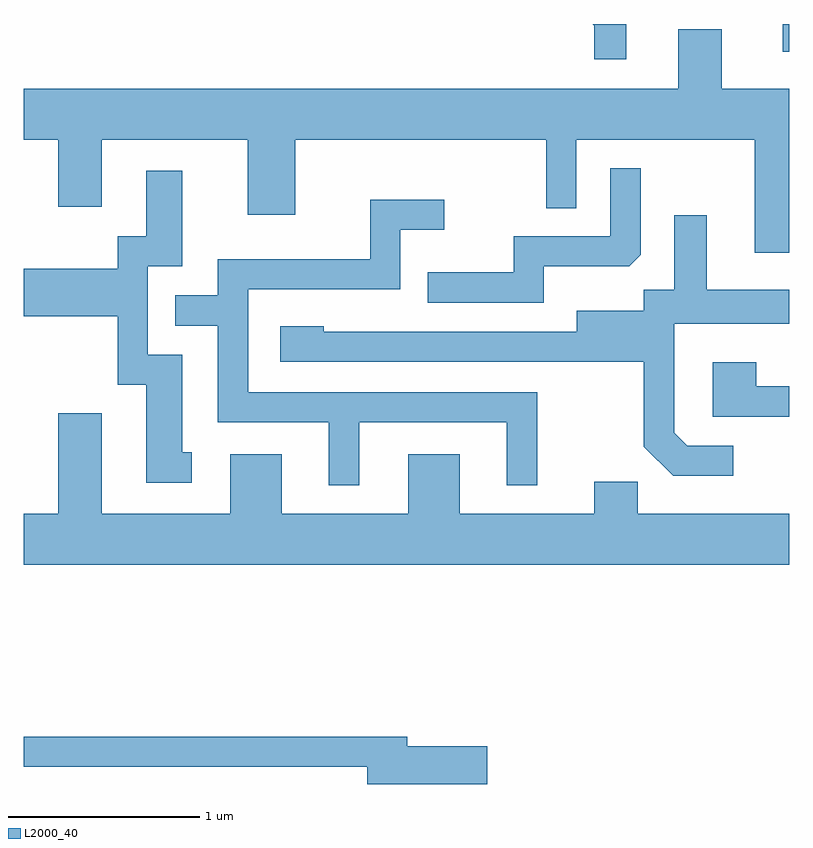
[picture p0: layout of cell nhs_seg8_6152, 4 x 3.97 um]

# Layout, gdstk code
import gdstk
lib = gdstk.Library(unit=1e-6, precision=1e-09)
def R(c, l, rs):  # rectangles x0, y0, x1, y1
    for r in rs: c.add(gdstk.rectangle(r[:2], r[2:], *l))
def P(c, l, *ps):  # polygons
    for p in ps: c.add(gdstk.Polygon(p, *l))
L2000_40 = (2000, 40)

nhs_seg8_6152 = lib.new_cell('nhs_seg8_6152')
R(nhs_seg8_6152, L2000_40, [(373.576,1850.196,373.611,1850.342)])
P(nhs_seg8_6152, L2000_40, [(372.759,1850.342),(372.583,1850.342),(372.591,1850.334),(372.591,1850.158),(372.759,1850.158)],
  [(373.611,1850.004),(373.259,1850.004),(373.259,1850.314),(373.031,1850.314),(373.031,1850.004),(369.611,1850.004),(369.611,1849.736),(369.791,1849.736),(369.791,1849.386),(370.019,1849.386),(370.019,1849.736),(370.781,1849.736),(370.781,1849.346),(371.029,1849.346),(371.029,1849.736),(372.341,1849.736),(372.341,1849.378),(372.499,1849.378),(372.499,1849.736),(373.431,1849.736),(373.431,1849.146),(373.611,1849.146)],
  [(372.329,1849.076),(372.774,1849.076),(372.834,1849.137),(372.834,1849.588),(372.676,1849.588),(372.676,1849.234),(372.171,1849.234),(372.171,1849.044),(371.723,1849.044),(371.723,1848.886),(372.329,1848.886)],
  [(370.488,1848.104),(370.439,1848.104),(370.439,1848.614),(370.259,1848.614),(370.259,1849.076),(370.439,1849.076),(370.439,1849.574),(370.251,1849.574),(370.251,1849.234),(370.101,1849.234),(370.101,1849.064),(369.611,1849.064),(369.611,1848.816),(370.101,1848.816),(370.101,1848.456),(370.251,1848.456),(370.251,1847.946),(370.488,1847.946)],
  [(371.364,1848.261),(372.136,1848.261),(372.136,1847.933),(372.294,1847.933),(372.294,1848.419),(370.784,1848.419),(370.784,1848.956),(371.579,1848.956),(371.579,1849.266),(371.808,1849.266),(371.808,1849.424),(371.421,1849.424),(371.421,1849.114),(370.626,1849.114),(370.626,1848.924),(370.403,1848.924),(370.403,1848.766),(370.626,1848.766),(370.626,1848.261),(371.206,1848.261),(371.206,1847.933),(371.364,1847.933)],
  [(373.318,1848.139),(373.077,1848.139),(373.009,1848.207),(373.009,1848.776),(373.611,1848.776),(373.611,1848.954),(373.179,1848.954),(373.179,1849.343),(373.011,1849.343),(373.011,1848.954),(372.851,1848.954),(372.851,1848.844),(372.501,1848.844),(372.501,1848.734),(371.179,1848.734),(371.179,1848.764),(370.951,1848.764),(370.951,1848.576),(372.851,1848.576),(372.851,1848.134),(373.004,1847.981),(373.318,1847.981)],
  [(373.611,1848.449),(373.439,1848.449),(373.439,1848.574),(373.211,1848.574),(373.211,1848.291),(373.611,1848.291)],
  [(373.611,1847.784),(372.819,1847.784),(372.819,1847.949),(372.591,1847.949),(372.591,1847.784),(371.889,1847.784),(371.889,1848.094),(371.621,1848.094),(371.621,1847.784),(370.959,1847.784),(370.959,1848.094),(370.691,1848.094),(370.691,1847.784),(370.019,1847.784),(370.019,1848.309),(369.791,1848.309),(369.791,1847.784),(369.611,1847.784),(369.611,1847.516),(373.611,1847.516)],
  [(372.034,1846.569),(371.614,1846.569),(371.614,1846.619),(369.611,1846.619),(369.611,1846.461),(371.406,1846.461),(371.406,1846.371),(372.034,1846.371)])

lib.write_gds('nhs_seg8_6152.gds')
